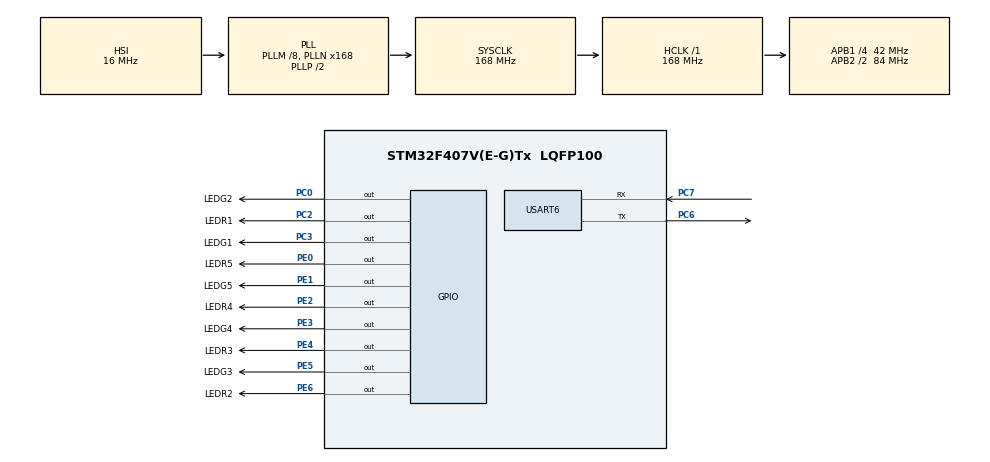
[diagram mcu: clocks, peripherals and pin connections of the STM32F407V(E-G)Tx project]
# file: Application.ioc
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Mcu.Family=STM32F4
Mcu.Name=STM32F407V(E-G)Tx
Mcu.Package=LQFP100
NVIC.PriorityGroup=NVIC_PRIORITYGROUP_4
PA13.Mode=Serial_Wire
PA13.Signal=SYS_JTMS-SWDIO
PA14.Mode=Serial_Wire
PA14.Signal=SYS_JTCK-SWCLK
PC0.GPIO_Label=LEDG2
PC0.Signal=GPIO_Output
PC2.GPIO_Label=LEDR1
PC2.Signal=GPIO_Output
PC3.GPIO_Label=LEDG1
PC3.Signal=GPIO_Output
PC6.Mode=Asynchronous
PC6.Signal=USART6_TX
PC7.Mode=Asynchronous
PC7.Signal=USART6_RX
PE0.GPIO_Label=LEDR5
PE0.Signal=GPIO_Output
PE1.GPIO_Label=LEDG5
PE1.Signal=GPIO_Output
PE2.GPIO_Label=LEDR4
PE2.Signal=GPIO_Output
PE3.GPIO_Label=LEDG4
PE3.Signal=GPIO_Output
PE4.GPIO_Label=LEDR3
PE4.Signal=GPIO_Output
PE5.GPIO_Label=LEDG3
PE5.Signal=GPIO_Output
PE6.GPIO_Label=LEDR2
PE6.Signal=GPIO_Output
PH0-OSC_IN.Mode=HSE-External-Oscillator
PH0-OSC_IN.Signal=RCC_OSC_IN
PH1-OSC_OUT.Mode=HSE-External-Oscillator
PH1-OSC_OUT.Signal=RCC_OSC_OUT
ProjectManager.HeapSize=0x200
ProjectManager.StackSize=0x400
ProjectManager.TargetToolchain=TrueSTUDIO
RCC.48MHZClocksFreq_Value=84000000
RCC.AHBFreq_Value=168000000
RCC.APB1CLKDivider=RCC_HCLK_DIV4
RCC.APB1Freq_Value=42000000
RCC.APB1TimFreq_Value=84000000
RCC.APB2CLKDivider=RCC_HCLK_DIV2
RCC.APB2Freq_Value=84000000
RCC.APB2TimFreq_Value=168000000
RCC.CortexFreq_Value=168000000
RCC.HCLKFreq_Value=168000000
RCC.HSE_VALUE=25000000
RCC.HSI_VALUE=16000000
RCC.LSE_VALUE=32768
RCC.PLLM=8
RCC.PLLN=168
RCC.SYSCLKFreq_VALUE=168000000
RCC.SYSCLKSource=RCC_SYSCLKSOURCE_PLLCLK
RCC.VCOOutputFreq_Value=336000000
USART6.Parity=PARITY_EVEN
USART6.VirtualMode=VM_ASYNC
USART6.WordLength=WORDLENGTH_9B
board=Application

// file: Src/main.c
/**
  ******************************************************************************
  * @file           : main.c
  * @brief          : Main program body
  ******************************************************************************
  ** This notice applies to any and all portions of this file
  * that are not between comment pairs USER CODE BEGIN and
  * USER CODE END. Other portions of this file, whether
  * inserted by the user or by software development tools
  * are owned by their respective copyright owners.
  *
  * COPYRIGHT(c) 2018 STMicroelectronics
  *
  * Redistribution and use in source and binary forms, with or without modification,
  * are permitted provided that the following conditions are met:
  *   1. Redistributions of source code must retain the above copyright notice,
  *      this list of conditions and the following disclaimer.
  *   2. Redistributions in binary form must reproduce the above copyright notice,
  *      this list of conditions and the following disclaimer in the documentation
  *      and/or other materials provided with the distribution.
  *   3. Neither the name of STMicroelectronics nor the names of its contributors
  *      may be used to endorse or promote products derived from this software
  *      without specific prior written permission.
  *
  * THIS SOFTWARE IS PROVIDED BY THE COPYRIGHT HOLDERS AND CONTRIBUTORS "AS IS"
  * AND ANY EXPRESS OR IMPLIED WARRANTIES, INCLUDING, BUT NOT LIMITED TO, THE
  * IMPLIED WARRANTIES OF MERCHANTABILITY AND FITNESS FOR A PARTICULAR PURPOSE ARE
  * DISCLAIMED. IN NO EVENT SHALL THE COPYRIGHT HOLDER OR CONTRIBUTORS BE LIABLE
  * FOR ANY DIRECT, INDIRECT, INCIDENTAL, SPECIAL, EXEMPLARY, OR CONSEQUENTIAL
  * DAMAGES (INCLUDING, BUT NOT LIMITED TO, PROCUREMENT OF SUBSTITUTE GOODS OR
  * SERVICES; LOSS OF USE, DATA, OR PROFITS; OR BUSINESS INTERRUPTION) HOWEVER
  * CAUSED AND ON ANY THEORY OF LIABILITY, WHETHER IN CONTRACT, STRICT LIABILITY,
  * OR TORT (INCLUDING NEGLIGENCE OR OTHERWISE) ARISING IN ANY WAY OUT OF THE USE
  * OF THIS SOFTWARE, EVEN IF ADVISED OF THE POSSIBILITY OF SUCH DAMAGE.
  *
  ******************************************************************************
  */
#include "main.h"
#include "stm32f4xx_hal.h"

UART_HandleTypeDef huart6;

/* USER CODE BEGIN PV */
/* Private variables ---------------------------------------------------------*/
#define FLASH_BOOTLOADER_SECTOR_ADDR		(uint32_t)0x08000000
/* Specify the memory areas */
//change in linker script Debug/STM32F407VG_FLASH.ld to
//MEMORY
//{
//RAM (xrw)      : ORIGIN = 0x20000000, LENGTH = 128K
//CCMRAM (rw)      : ORIGIN = 0x10000000, LENGTH = 64K
//FLASH (rx)      : ORIGIN = 0x8004000, LENGTH = 1008K
//}

//change the values in stm32f407xx.h to these
/* (FLASH_APPLICATION_SECTOR_ADDR(uint32_t)0x08004000)*/
//#define FLASH_BASE            0x08004000U /*!< FLASH(up to 1 MB) base address in the alias region                         */
//#define CCMDATARAM_BASE       0x10000000U /*!< CCM(core coupled memory) data RAM(64 KB) base address in the alias region  */
//#define SRAM1_BASE            0x20000000U /*!< SRAM1(112 KB) base address in the alias region                              */
//#define SRAM2_BASE            0x2001C000U /*!< SRAM2(16 KB) base address in the alias region                              */
//#define PERIPH_BASE           0x40000000U /*!< Peripheral base address in the alias region                                */
//#define BKPSRAM_BASE          0x40024000U /*!< Backup SRAM(4 KB) base address in the alias region                         */
//#define FSMC_R_BASE           0xA0000000U /*!< FSMC registers base address                                                */
//#define SRAM1_BB_BASE         0x22000000U /*!< SRAM1(112 KB) base address in the bit-band region                          */
//#define SRAM2_BB_BASE         0x22380000U /*!< SRAM2(16 KB) base address in the bit-band region                           */
//#define PERIPH_BB_BASE        0x42000000U /*!< Peripheral base address in the bit-band region                             */
//#define BKPSRAM_BB_BASE       0x42480000U /*!< Backup SRAM(4 KB) base address in the bit-band region                      */
//#define FLASH_END             0x080FFFFFU /*!< FLASH end address                                                          */
//#define FLASH_OTP_BASE        0x1FFF7800U /*!< Base address of : (up to 528 Bytes) embedded FLASH OTP Area                */
//#define FLASH_OTP_END         0x1FFF7A0FU /*!< End address of : (up to 528 Bytes) embedded FLASH OTP Area                 */
//#define CCMDATARAM_END        0x1000FFFFU /*!< CCM data RAM end address
/* USER CODE END PV */

void SystemClock_Config(void);
static void MX_GPIO_Init(void);
static void MX_USART6_UART_Init(void);

/* USER CODE BEGIN PFP */
/* Private function prototypes -----------------------------------------------*/
static void Jump_To_Address_Flash(uint32_t addr);
/* USER CODE END PFP */

/* USER CODE BEGIN 0 */
//comment
//change these settings in the file
/* USER CODE END 0 */

int main(void){

  /* MCU Configuration----------------------------------------------------------*/

  /* Reset of all peripherals, Initializes the Flash interface and the Systick. */
  HAL_Init();

  /* Configure the system clock */
  SystemClock_Config();

  /* Initialize all configured peripherals */
  MX_GPIO_Init();
  MX_USART6_UART_Init();
  /* USER CODE BEGIN 2 */
  __enable_irq();
  //HAL_GPIO_WritePin(RS485_DE_Port, RS485_DE_Pin, GPIO_PIN_RESET);
  //HAL_GPIO_WritePin(RS485_RE_Port, RS485_RE_Pin, GPIO_PIN_RESET);
  /* USER CODE END 2 */

  /* Infinite loop */
  /* USER CODE BEGIN WHILE */
  while (1)
  {
		uint8_t chr = 0;
		HAL_UART_Receive(&huart6, &chr, 1, 1000);
		if(chr == 0x7F){
			Jump_To_Address_Flash(FLASH_BOOTLOADER_SECTOR_ADDR);
		}
		HAL_GPIO_TogglePin(LEDR5_GPIO_Port,LEDR5_Pin);
		HAL_GPIO_TogglePin(LEDG5_GPIO_Port,LEDG5_Pin);
		HAL_GPIO_TogglePin(LEDR4_GPIO_Port,LEDR4_Pin);
		HAL_GPIO_TogglePin(LEDG4_GPIO_Port,LEDG4_Pin);
		HAL_GPIO_TogglePin(LEDR3_GPIO_Port,LEDR3_Pin);
		HAL_GPIO_TogglePin(LEDG3_GPIO_Port,LEDG3_Pin);
		HAL_GPIO_TogglePin(LEDR2_GPIO_Port,LEDR2_Pin);
		HAL_GPIO_TogglePin(LEDG2_GPIO_Port,LEDG2_Pin);
		HAL_GPIO_TogglePin(LEDR1_GPIO_Port,LEDR1_Pin);
		HAL_GPIO_TogglePin(LEDG1_GPIO_Port,LEDG1_Pin);
  /* USER CODE END WHILE */

  }

}

void SystemClock_Config(void)
{

  RCC_OscInitTypeDef RCC_OscInitStruct;
  RCC_ClkInitTypeDef RCC_ClkInitStruct;

    /**Configure the main internal regulator output voltage
    */
  __HAL_RCC_PWR_CLK_ENABLE();

  __HAL_PWR_VOLTAGESCALING_CONFIG(PWR_REGULATOR_VOLTAGE_SCALE1);

    /**Initializes the CPU, AHB and APB busses clocks
    */
  RCC_OscInitStruct.OscillatorType = RCC_OSCILLATORTYPE_HSI;
  RCC_OscInitStruct.HSIState = RCC_HSI_ON;
  RCC_OscInitStruct.HSICalibrationValue = 16;
  RCC_OscInitStruct.PLL.PLLState = RCC_PLL_ON;
  RCC_OscInitStruct.PLL.PLLSource = RCC_PLLSOURCE_HSI;
  RCC_OscInitStruct.PLL.PLLM = 8;
  RCC_OscInitStruct.PLL.PLLN = 168;
  RCC_OscInitStruct.PLL.PLLP = RCC_PLLP_DIV2;
  RCC_OscInitStruct.PLL.PLLQ = 4;
  if (HAL_RCC_OscConfig(&RCC_OscInitStruct) != HAL_OK)
  {
    _Error_Handler(__FILE__, __LINE__);
  }

    /**Initializes the CPU, AHB and APB busses clocks
    */
  RCC_ClkInitStruct.ClockType = RCC_CLOCKTYPE_HCLK|RCC_CLOCKTYPE_SYSCLK
                              |RCC_CLOCKTYPE_PCLK1|RCC_CLOCKTYPE_PCLK2;
  RCC_ClkInitStruct.SYSCLKSource = RCC_SYSCLKSOURCE_PLLCLK;
  RCC_ClkInitStruct.AHBCLKDivider = RCC_SYSCLK_DIV1;
  RCC_ClkInitStruct.APB1CLKDivider = RCC_HCLK_DIV4;
  RCC_ClkInitStruct.APB2CLKDivider = RCC_HCLK_DIV2;

  if (HAL_RCC_ClockConfig(&RCC_ClkInitStruct, FLASH_LATENCY_5) != HAL_OK)
  {
    _Error_Handler(__FILE__, __LINE__);
  }

    /**Configure the Systick interrupt time
    */
  HAL_SYSTICK_Config(HAL_RCC_GetHCLKFreq()/1000);

    /**Configure the Systick
    */
  HAL_SYSTICK_CLKSourceConfig(SYSTICK_CLKSOURCE_HCLK);

  /* SysTick_IRQn interrupt configuration */
  HAL_NVIC_SetPriority(SysTick_IRQn, 0, 0);
}

/* USART6 init function */
static void MX_USART6_UART_Init(void)
{

  huart6.Instance = USART6;
  huart6.Init.BaudRate = 115200;
  huart6.Init.WordLength = UART_WORDLENGTH_9B;
  huart6.Init.StopBits = UART_STOPBITS_1;
  huart6.Init.Parity = UART_PARITY_EVEN;
  huart6.Init.Mode = UART_MODE_TX_RX;
  huart6.Init.HwFlowCtl = UART_HWCONTROL_NONE;
  huart6.Init.OverSampling = UART_OVERSAMPLING_16;
  if (HAL_UART_Init(&huart6) != HAL_OK)
  {
    _Error_Handler(__FILE__, __LINE__);
  }

}

/** Configure pins as
        * Analog
        * Input
        * Output
        * EVENT_OUT
        * EXTI
        * Free pins are configured automatically as Analog (this feature is enabled through
        * the Code Generation settings)
*/
static void MX_GPIO_Init(void)
{

  GPIO_InitTypeDef GPIO_InitStruct;

  /* GPIO Ports Clock Enable */
  __HAL_RCC_GPIOE_CLK_ENABLE();
  __HAL_RCC_GPIOC_CLK_ENABLE();
  __HAL_RCC_GPIOH_CLK_ENABLE();
  __HAL_RCC_GPIOA_CLK_ENABLE();
  __HAL_RCC_GPIOB_CLK_ENABLE();
  __HAL_RCC_GPIOD_CLK_ENABLE();

  /*Configure GPIO pin Output Level */
  HAL_GPIO_WritePin(GPIOE, LEDR4_Pin|LEDG4_Pin|LEDR3_Pin|LEDG3_Pin
                          |LEDR2_Pin|LEDR5_Pin|LEDG5_Pin, GPIO_PIN_RESET);

  /*Configure GPIO pin Output Level */
  HAL_GPIO_WritePin(GPIOC, LEDG2_Pin|LEDR1_Pin|LEDG1_Pin, GPIO_PIN_RESET);

  /*Configure GPIO pins : LEDR4_Pin LEDG4_Pin LEDR3_Pin LEDG3_Pin
                           LEDR2_Pin LEDR5_Pin LEDG5_Pin */
  GPIO_InitStruct.Pin = LEDR4_Pin|LEDG4_Pin|LEDR3_Pin|LEDG3_Pin
                          |LEDR2_Pin|LEDR5_Pin|LEDG5_Pin;
  GPIO_InitStruct.Mode = GPIO_MODE_OUTPUT_PP;
  GPIO_InitStruct.Pull = GPIO_NOPULL;
  GPIO_InitStruct.Speed = GPIO_SPEED_FREQ_LOW;
  HAL_GPIO_Init(GPIOE, &GPIO_InitStruct);

  /*Configure GPIO pins : PC13 PC14 PC15 PC1
                           PC4 PC5 PC8 PC9
                           PC10 PC11 PC12 */
  GPIO_InitStruct.Pin = GPIO_PIN_13|GPIO_PIN_14|GPIO_PIN_15|GPIO_PIN_1
                          |GPIO_PIN_4|GPIO_PIN_5|GPIO_PIN_8|GPIO_PIN_9
                          |GPIO_PIN_10|GPIO_PIN_11|GPIO_PIN_12;
  GPIO_InitStruct.Mode = GPIO_MODE_ANALOG;
  GPIO_InitStruct.Pull = GPIO_NOPULL;
  HAL_GPIO_Init(GPIOC, &GPIO_InitStruct);

  /*Configure GPIO pins : LEDG2_Pin LEDR1_Pin LEDG1_Pin */
  GPIO_InitStruct.Pin = LEDG2_Pin|LEDR1_Pin|LEDG1_Pin;
  GPIO_InitStruct.Mode = GPIO_MODE_OUTPUT_PP;
  GPIO_InitStruct.Pull = GPIO_NOPULL;
  GPIO_InitStruct.Speed = GPIO_SPEED_FREQ_LOW;
  HAL_GPIO_Init(GPIOC, &GPIO_InitStruct);

  /*Configure GPIO pins : PA0 PA1 PA2 PA3
                           PA4 PA5 PA6 PA7
                           PA8 PA9 PA10 PA11
                           PA12 PA15 */
  GPIO_InitStruct.Pin = GPIO_PIN_0|GPIO_PIN_1|GPIO_PIN_2|GPIO_PIN_3
                          |GPIO_PIN_4|GPIO_PIN_5|GPIO_PIN_6|GPIO_PIN_7
                          |GPIO_PIN_8|GPIO_PIN_9|GPIO_PIN_10|GPIO_PIN_11
                          |GPIO_PIN_12|GPIO_PIN_15;
  GPIO_InitStruct.Mode = GPIO_MODE_ANALOG;
  GPIO_InitStruct.Pull = GPIO_NOPULL;
  HAL_GPIO_Init(GPIOA, &GPIO_InitStruct);

  /*Configure GPIO pins : PB0 PB1 PB2 PB10
                           PB11 PB12 PB13 PB14
                           PB15 PB3 PB4 PB5
                           PB6 PB7 PB8 PB9 */
  GPIO_InitStruct.Pin = GPIO_PIN_0|GPIO_PIN_1|GPIO_PIN_2|GPIO_PIN_10
                          |GPIO_PIN_11|GPIO_PIN_12|GPIO_PIN_13|GPIO_PIN_14
                          |GPIO_PIN_15|GPIO_PIN_3|GPIO_PIN_4|GPIO_PIN_5
                          |GPIO_PIN_6|GPIO_PIN_7|GPIO_PIN_8|GPIO_PIN_9;
  GPIO_InitStruct.Mode = GPIO_MODE_ANALOG;
  GPIO_InitStruct.Pull = GPIO_NOPULL;
  HAL_GPIO_Init(GPIOB, &GPIO_InitStruct);

  /*Configure GPIO pins : PE7 PE8 PE9 PE10
                           PE11 PE12 PE13 PE14
                           PE15 */
  GPIO_InitStruct.Pin = GPIO_PIN_7|GPIO_PIN_8|GPIO_PIN_9|GPIO_PIN_10
                          |GPIO_PIN_11|GPIO_PIN_12|GPIO_PIN_13|GPIO_PIN_14
                          |GPIO_PIN_15;
  GPIO_InitStruct.Mode = GPIO_MODE_ANALOG;
  GPIO_InitStruct.Pull = GPIO_NOPULL;
  HAL_GPIO_Init(GPIOE, &GPIO_InitStruct);

  /*Configure GPIO pins : PD8 PD9 PD10 PD11
                           PD12 PD13 PD14 PD15
                           PD0 PD1 PD2 PD3
                           PD4 PD5 PD6 PD7 */
  GPIO_InitStruct.Pin = GPIO_PIN_8|GPIO_PIN_9|GPIO_PIN_10|GPIO_PIN_11
                          |GPIO_PIN_12|GPIO_PIN_13|GPIO_PIN_14|GPIO_PIN_15
                          |GPIO_PIN_0|GPIO_PIN_1|GPIO_PIN_2|GPIO_PIN_3
                          |GPIO_PIN_4|GPIO_PIN_5|GPIO_PIN_6|GPIO_PIN_7;
  GPIO_InitStruct.Mode = GPIO_MODE_ANALOG;
  GPIO_InitStruct.Pull = GPIO_NOPULL;
  HAL_GPIO_Init(GPIOD, &GPIO_InitStruct);

}

/* USER CODE BEGIN 4 */
static void Jump_To_Address_Flash(uint32_t addr)
{
  void (*SysMemJump)(void);

  HAL_RCC_DeInit();

  SysTick->CTRL = 0;
  SysTick->LOAD = 0;
  SysTick->VAL = 0;

  __disable_irq();

  __HAL_SYSCFG_REMAPMEMORY_FLASH();

  SysMemJump = (void (*)(void))(*((uint32_t *)(addr + 4)));

  __set_MSP(*(uint32_t *)addr);

  SysMemJump();
}
/* USER CODE END 4 */

void _Error_Handler(char *file, int line)
{
  while(1)
  {
  }
}

/************************ (C) COPYRIGHT STMicroelectronics *****END OF FILE****/
